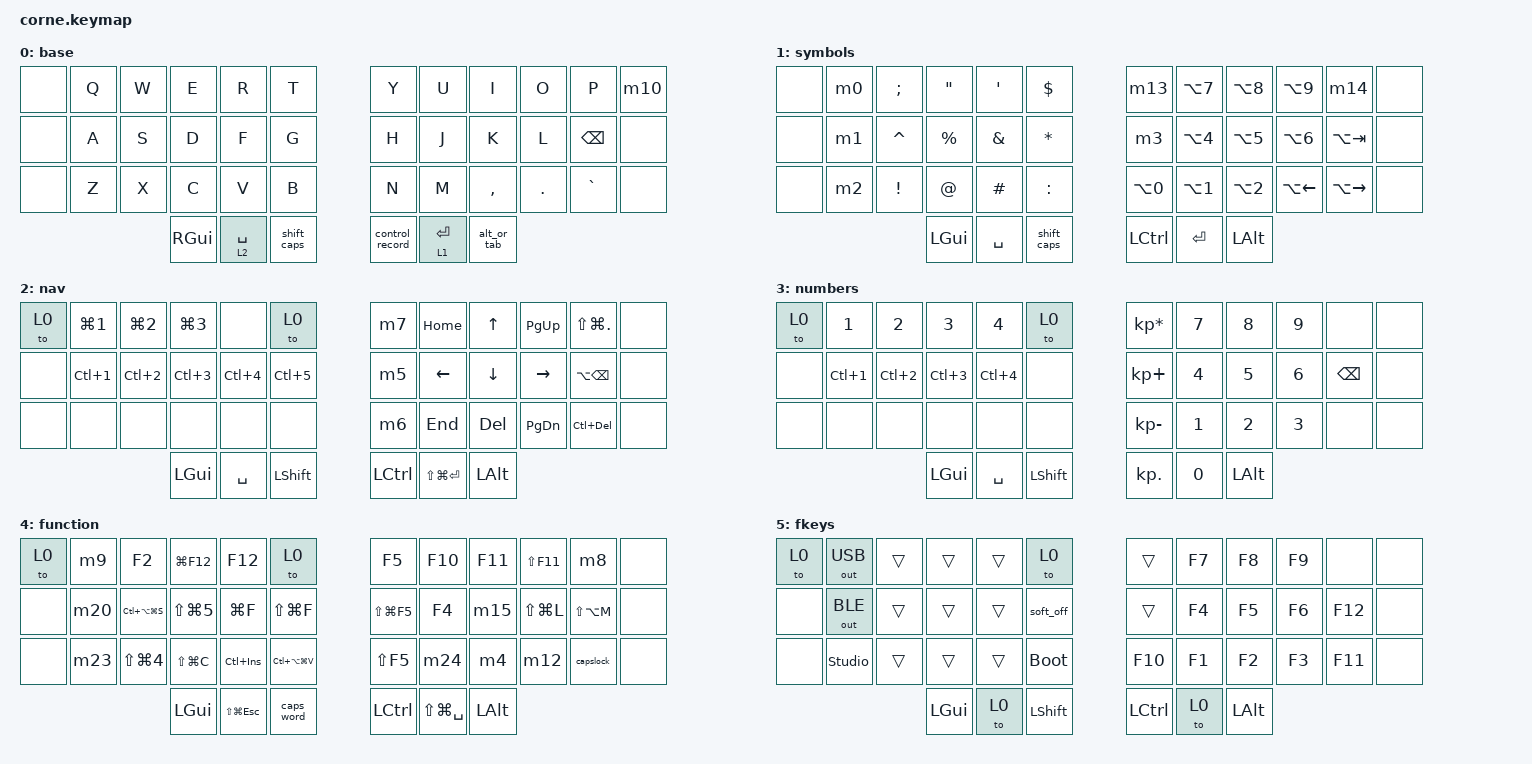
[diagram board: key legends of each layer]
#include <behaviors/mouse_keys.dtsi>
#include <behaviors.dtsi>
#include <dt-bindings/zmk/bt.h>
#include <dt-bindings/zmk/keys.h>
#include <dt-bindings/zmk/outputs.h>
#include <dt-bindings/zmk/pointing.h>

// Corne-only hardening (32-keys.md): the layer-taps on the thumbs get a quick-tap
// window, a prior-idle guard and tap-preferred flavor so a fast Space/Enter never
// resolves as a layer hold. Ximi2 has no equivalent knob.
&lt {
    quick-tap-ms = <200>;
    require-prior-idle-ms = <125>;
    flavor = "tap-preferred";
};

/ {
    macros {
        // Macro numbering mirrors the Vial macro table in akiva.vil (M0..M29).
        // Gaps in the numbering are intentional: those Vial macros are either
        // empty or bound only to Ximi-only keys (outer column / encoders).

        // M0: {} with cursor inside

        m0: m0 {
            compatible = "zmk,behavior-macro";
            #binding-cells = <0>;
            bindings = <&kp LEFT_BRACE &kp RIGHT_BRACE &kp LEFT_ARROW>;
            label = "M0";
        };

        // M1: () with cursor inside

        m1: m1 {
            compatible = "zmk,behavior-macro";
            #binding-cells = <0>;
            bindings = <&kp LEFT_PARENTHESIS &kp RIGHT_PARENTHESIS &kp LEFT_ARROW>;
            label = "M1";
        };

        // M2: [] with cursor inside

        m2: m2 {
            compatible = "zmk,behavior-macro";
            #binding-cells = <0>;
            bindings = <&kp LEFT_BRACKET &kp RIGHT_BRACKET &kp LEFT_ARROW>;
            label = "M2";
        };

        // M3: terminal — Ctrl+Alt+Cmd+T, then Alt+3

        m3: m3 {
            compatible = "zmk,behavior-macro";
            #binding-cells = <0>;
            bindings =
                <&kp LC(LA(LG(T)))>,
                <&macro_wait_time 100>,
                <&kp LA(NUMBER_3)>;

            label = "M3";
        };

        // M4: "./"

        m4: m4 {
            compatible = "zmk,behavior-macro";
            #binding-cells = <0>;
            bindings = <&kp DOT &kp SLASH>;
            label = "M4";
        };

        // M5: Cmd+K, Cmd+[ — fold

        m5: m5 {
            compatible = "zmk,behavior-macro";
            #binding-cells = <0>;
            bindings = <&kp LG(K) &kp LG(LEFT_BRACKET)>;
            label = "M5";
        };

        // M6: Cmd+K, Cmd+] — unfold

        m6: m6 {
            compatible = "zmk,behavior-macro";
            #binding-cells = <0>;
            bindings = <&kp LG(K) &kp LG(RIGHT_BRACKET)>;
            label = "M6";
        };

        // M7: Cmd+K, Cmd+0 — fold all

        m7: m7 {
            compatible = "zmk,behavior-macro";
            #binding-cells = <0>;
            bindings = <&kp LG(K) &kp LG(NUMBER_0)>;
            label = "M7";
        };

        // M8: Alt+Cmd+P

        m8: m8 {
            compatible = "zmk,behavior-macro";
            #binding-cells = <0>;
            bindings =
                <&macro_press>,
                <&kp LALT &kp LGUI>,
                <&macro_tap>,
                <&kp P>,
                <&macro_release>,
                <&kp LALT &kp LGUI>;

            label = "M8";
        };

        // M9: ESC, ZZ — vim exit

        m9: m9 {
            compatible = "zmk,behavior-macro";
            #binding-cells = <0>;
            bindings = <&kp ESC &kp LS(Z) &kp LS(Z)>;
            label = "M9";
        };

        // M10: Ctrl+Cmd+Q — lock screen

        m10: m10 {
            compatible = "zmk,behavior-macro";
            #binding-cells = <0>;
            bindings = <&kp LC(LG(Q))>;
            label = "M10";
        };

        // M12: "../" — was a second copy of M4's "./" until Ximi de-duplicated it

        m12: m12 {
            compatible = "zmk,behavior-macro";
            #binding-cells = <0>;
            bindings = <&kp DOT &kp DOT &kp SLASH>;
            label = "M12";
        };

        // M13: Alt+Ctrl+Left

        m13: m13 {
            compatible = "zmk,behavior-macro";
            #binding-cells = <0>;
            bindings = <&kp LA(LC(LEFT_ARROW))>;
            label = "M13";
        };

        // M14: Alt+Ctrl+Right

        m14: m14 {
            compatible = "zmk,behavior-macro";
            #binding-cells = <0>;
            bindings = <&kp LA(LC(RIGHT_ARROW))>;
            label = "M14";
        };

        // M15: email address

        m15: m15 {
            compatible = "zmk,behavior-macro";
            #binding-cells = <0>;
            wait-ms = <20>;
            tap-ms = <10>;
            bindings =
                <&macro_tap>,
                <&kp A &kp K &kp B &kp L &kp O &kp C &kp H &kp AT_SIGN &kp D &kp R &kp I &kp V &kp E &kp N &kp E &kp T &kp S &kp DOT &kp C &kp O &kp M>;

            label = "M15";
        };

        // M20: Shift+Alt+T, wait, "!!", Enter — rerun last shell command

        m20: m20 {
            compatible = "zmk,behavior-macro";
            #binding-cells = <0>;
            bindings =
                <&kp LS(LA(T))>,
                <&macro_wait_time 300>,
                <&kp EXCL &kp EXCL &kp ENTER>;

            label = "M20";
        };

        // M22: "thisisunsafe" — defined but unbound. Its layer 4 key went to the path
        // macros when Ximi de-duplicated them, and Ximi has no binding for it either.

        m22: m22 {
            compatible = "zmk,behavior-macro";
            #binding-cells = <0>;
            wait-ms = <20>;
            tap-ms = <10>;
            bindings = <&kp T &kp H &kp I &kp S &kp I &kp S &kp U &kp N &kp S &kp A &kp F &kp E>;
            label = "M22";
        };

        // Ximi M11: Caps Lock held for 120 ms. macOS ignores a Caps Lock press shorter
        // than ~80 ms, so a plain tap never toggles it. Bound on layer 4's left outer
        // bottom key, which is where Ximi put it back after the thumb move. Ximi also
        // still reaches Caps Lock from the left thumb's tap-then-hold; ZMK cannot
        // express that gesture, so on the Corne this key is the only route to it.

        capslock: capslock {
            compatible = "zmk,behavior-macro";
            #binding-cells = <0>;
            bindings = <&macro_press &kp CAPS>, <&macro_wait_time 120>, <&macro_release &kp CAPS>;
            label = "CAPSLOCK";
        };

        // M23: "think hard and be smart"

        m23: m23 {
            compatible = "zmk,behavior-macro";
            #binding-cells = <0>;
            wait-ms = <20>;
            tap-ms = <10>;
            bindings = <&kp T &kp H &kp I &kp N &kp K &kp SPACE &kp H &kp A &kp R &kp D &kp SPACE &kp A &kp N &kp D &kp SPACE &kp B &kp E &kp SPACE &kp S &kp M &kp A &kp R &kp T>;
            label = "M23";
        };

        // M24: "~/"

        m24: m24 {
            compatible = "zmk,behavior-macro";
            #binding-cells = <0>;
            bindings = <&kp TILDE &kp SLASH>;
            label = "M24";
        };

        // M27: Cmd+Alt+T

        m27: m27 {
            compatible = "zmk,behavior-macro";
            #binding-cells = <0>;
            bindings = <&kp LG(LA(T))>;
            label = "M27";
        };

        // BTCLR0-4: clear one named Bluetooth profile. ZMK's BT_CLR takes no index —
        // it clears whichever profile is current — so each of these selects the
        // profile, waits for the switch to settle, then clears it. You are left on
        // the profile you just cleared, which is what you want before re-pairing.

        btclr0: btclr0 {
            compatible = "zmk,behavior-macro";
            #binding-cells = <0>;
            bindings = <&bt BT_SEL 0>, <&macro_wait_time 30>, <&bt BT_CLR>;
            label = "BTCLR0";
        };

        btclr1: btclr1 {
            compatible = "zmk,behavior-macro";
            #binding-cells = <0>;
            bindings = <&bt BT_SEL 1>, <&macro_wait_time 30>, <&bt BT_CLR>;
            label = "BTCLR1";
        };

        btclr2: btclr2 {
            compatible = "zmk,behavior-macro";
            #binding-cells = <0>;
            bindings = <&bt BT_SEL 2>, <&macro_wait_time 30>, <&bt BT_CLR>;
            label = "BTCLR2";
        };

        btclr3: btclr3 {
            compatible = "zmk,behavior-macro";
            #binding-cells = <0>;
            bindings = <&bt BT_SEL 3>, <&macro_wait_time 30>, <&bt BT_CLR>;
            label = "BTCLR3";
        };

        btclr4: btclr4 {
            compatible = "zmk,behavior-macro";
            #binding-cells = <0>;
            bindings = <&bt BT_SEL 4>, <&macro_wait_time 30>, <&bt BT_CLR>;
            label = "BTCLR4";
        };
    };

    behaviors {
        // Vial TD(1) on the right inner thumb: tap = Ctrl, double tap = Ctrl+Alt+Cmd+\
        // (screen recording). Vial tapping term is 210 ms.

        control_record: control_record {
            compatible = "zmk,behavior-tap-dance";
            label = "CONTROL_RECORD";
            #binding-cells = <0>;
            tapping-term-ms = <210>;
            bindings = <&kp LEFT_CONTROL>, <&kp LC(LA(LG(BACKSLASH)))>;
        };

        // Tab's new home. The left outer column is being retired and Tab was its
        // last tenant, so it moves onto the right outer thumb: hold = Alt, tap = Tab.
        //
        // flavor = "hold-preferred" is what makes this affordable. A tap-dance (the
        // gui5/alt5 bill this file tore up) charges its term on every press; a
        // hold-preferred hold-tap resolves the hold the instant another key goes
        // down, so Alt+letter costs nothing. The term only runs when nothing else
        // follows, which is the keyless hold: ⌥-click, ⌥-drag, ⌥-scroll.
        //
        // hold-trigger-key-positions lists the thirty letter positions and no thumb.
        // A thumb pressed after this key must therefore resolve it as a TAP, not a
        // hold — without that, pressing Shift (38) a hair after this key turns
        // Shift+Tab into Alt+Shift.
        alt_tab: alt_tab {
            compatible = "zmk,behavior-hold-tap";
            label = "ALT_TAB";
            #binding-cells = <2>;
            flavor = "hold-preferred";
            tapping-term-ms = <180>;
            hold-trigger-key-positions = <1 2 3 4 5 6 7 8 9 10 13 14 15 16 17 18 19 20 21 22 25 26 27 28 29 30 31 32 33 34>;
            bindings = <&kp>, <&kp>;
        };

        // The Shift+Tab guard, and the reason Tab can live on a modifier at all.
        //
        // A hold-tap emits its tap on RELEASE. Shift+Tab is two thumbs on opposite
        // halves, so if the left thumb lifts a few ms early the Tab lands unshifted
        // — plain Tab instead of Shift+Tab, which in a Claude Code session cycles
        // the mode the wrong way. No timing knob fixes that; the tap is simply late.
        //
        // mod-morph does. With Shift already held, this key is a plain &kp TAB that
        // fires on KEYDOWN, and keep-mods lets the Shift through. Release order
        // stops mattering.
        //
        // The mask is Shift and nothing else, deliberately. Widening it to Cmd and
        // Ctrl would make ⌘Tab and ⌃Tab fire on keydown too, but it would also mean
        // this key can never produce Alt while Cmd or Ctrl is held, which kills live
        // ⌘⌥x and ⌃⌥x chords from the thumbs. ⌘Tab needs no help: you hold ⌘ far
        // past the Tab while browsing the switcher, so the late tap is harmless.
        // Modifiers absent from `mods` are not touched, so ⌘⇧Tab still works — the
        // Shift branch fires and the Cmd passes straight through.
        //
        // UNVERIFIED, and it wants a build to settle: Shift on position 38 is now the
        // shift_caps tap-dance, not a plain &kp LSHFT. A mod-morph reads the held mods
        // at its own keydown, and a tap-dance emits its binding on the interrupt path,
        // so the question is whether that Shift is in the report before this key is
        // evaluated. If it is not, Shift+Tab takes the hold-tap branch and the
        // release-order hazard this morph exists to remove comes back.
        alt_or_tab: alt_or_tab {
            compatible = "zmk,behavior-mod-morph";
            label = "ALT_OR_TAB";
            #binding-cells = <0>;
            bindings = <&alt_tab LALT TAB>, <&kp TAB>;
            mods = <(MOD_LSFT|MOD_RSFT)>;
            keep-mods = <(MOD_LSFT|MOD_RSFT)>;
        };

        // Vial TD(0) on the left inner thumb: tap = Shift, double tap = Caps Word,
        // tap-then-hold = Caps Lock. ZMK tap-dance has no tap-hold slot, so Caps Lock
        // takes the third tap instead — the closest gesture ZMK can express. The
        // double-tap only resolves from a deliberate pair of taps: a held Shift plus a
        // letter resolves on the letter (the interrupt path), not on a second tap, so
        // typing two capitals in a row never arms it. 200 ms, matching Vial's term.
        //
        // Bound on layers 0 and 1, as on Ximi. Layers 2, 3 and 5 keep a plain Shift —
        // the dance buys nothing on nav/number/F-key layers and would only tax the
        // modifier. Layer 4's left inner thumb stays a one-tap &caps_word, also as on
        // Ximi, so Caps Word is reachable from base without going to layer 4.

        shift_caps: shift_caps {
            compatible = "zmk,behavior-tap-dance";
            label = "SHIFT_CAPS";
            #binding-cells = <0>;
            tapping-term-ms = <200>;
            bindings = <&kp LSHFT>, <&caps_word>, <&capslock>;
        };
    };

    combos {
        compatible = "zmk,combos";
        timeout-ms = <150>;

        // Every combo is scoped to the base layer. Ximi2 leaves them global; the Corne
        // leads here (32-keys.md), and each non-base layer already carries its own TO0.

        // Ported 1:1 from the Vial combo table (which is keyed by keycode, not position).
        // Corne key positions (0-41):
        // 0  1  2  3  4  5       6  7  8  9  10 11
        // 12 13 14 15 16 17      18 19 20 21 22 23
        // 24 25 26 27 28 29      30 31 32 33 34 35
        //          36 37 38      39 40 41

        semicolon {
            bindings = <&kp SEMI>;
            key-positions = <5 17>; // T + G
            layers = <0>;
        };

        pipe {
            bindings = <&kp PIPE>;
            key-positions = <17 29>; // G + B
            layers = <0>;
        };

        slash {
            bindings = <&kp SLASH>;
            key-positions = <4 15>; // R + D
            layers = <0>;
        };

        backslash {
            bindings = <&kp BACKSLASH>;
            key-positions = <3 16>; // E + F
            layers = <0>;
        };

        dash {
            bindings = <&kp MINUS>;
            key-positions = <14 16>; // S + F
            layers = <0>;
        };

        underscore {
            bindings = <&kp UNDER>;
            key-positions = <26 28>; // X + V
            layers = <0>;
        };

        plus {
            bindings = <&kp PLUS>;
            key-positions = <19 21>; // J + L
            layers = <0>;
        };

        eql {
            bindings = <&kp EQUAL>;
            key-positions = <31 33>; // M + .
            layers = <0>;
        };

        left_bracket {
            bindings = <&kp LEFT_BRACKET>;
            key-positions = <1 14>; // Q + S
            layers = <0>;
        };

        right_bracket {
            bindings = <&kp RIGHT_BRACKET>;
            key-positions = <2 13>; // W + A
            layers = <0>;
        };

        esc {
            bindings = <&kp ESCAPE>;
            key-positions = <1 3>; // Q + E
            layers = <0>;
        };

        // ? — the slash family's second direction. Slash is r + d, anchored on D
        // reaching up-right; this is the same anchor reaching down-right, one row
        // below e + f. It crosses two adjacent columns, which the rest of the
        // combo set avoids, and it is the first such pair chosen rather than
        // inherited: require-prior-idle-ms cannot guard it, because ? is typed
        // mid-word. It rides on r + d and e + f being clean in daily use.

        qmark {
            bindings = <&kp QMARK>;
            key-positions = <15 28>; // D + V
            layers = <0>;
        };

        think_hard {
            bindings = <&m23>;
            key-positions = <1 29>; // Q + B
            layers = <0>;
        };

        mouse1 {
            bindings = <&mkp LCLK>;
            key-positions = <1 15>; // Q + D
            layers = <0>;
        };

        mouse2 {
            bindings = <&mkp RCLK>;
            key-positions = <13 27>; // A + C
            layers = <0>;
        };

        mouse4 {
            bindings = <&mkp MB4>;
            key-positions = <20 22>; // K + Backspace
            layers = <0>;
        };

        mouse5 {
            bindings = <&mkp MB5>;
            key-positions = <8 10>; // I + P
            layers = <0>;
        };

        mo2 {
            bindings = <&mo 2>;
            key-positions = <3 14 16>; // S + E + F
            layers = <0>;
        };

        mo3 {
            bindings = <&mo 3>;
            key-positions = <14 15 16>; // S + D + F
            layers = <0>;
        };

        mo5 {
            bindings = <&mo 5>;
            key-positions = <26 27 28>; // X + C + V
            layers = <0>;
        };

        sl4_home {
            bindings = <&sl 4>;
            key-positions = <19 20 21>; // J + K + L
            layers = <0>;
        };

        sl4_bottom {
            bindings = <&sl 4>;
            key-positions = <31 32 33>; // M + , + .
            layers = <0>;
        };

        to2 {
            bindings = <&to 2>;
            key-positions = <3 13 14 16>; // A + S + E + F
            layers = <0>;
        };

        to3 {
            bindings = <&to 3>;
            key-positions = <13 14 15 16>; // A + S + D + F
            layers = <0>;
        };

        to5 {
            bindings = <&to 5>;
            key-positions = <25 26 27 28>; // Z + X + C + V
            layers = <0>;
        };

        // ZMK-only: Bluetooth has no Ximi equivalent. The whole radio grid hangs off
        // one shared anchor pair, O + P, with the third key naming the profile:
        // the top row selects, the home row disconnects, the bottom row clears.
        // Every key is inside the 36-key core, so the grid survives a smaller board.
        //
        // ZMK counts profiles from 0, so the five keys of a row are profiles 0-4 —
        // the first key of the row is profile 0, not profile 1.
        //
        // require-prior-idle-ms is load-bearing here, not decoration. O and P are
        // adjacent columns of the same hand, so "top" and "stop" roll T-O-P inside
        // the combo timeout and would otherwise select a profile mid-word. These
        // combos only fire from a standing start.

        bt_sel_0 {
            bindings = <&bt BT_SEL 0>;
            key-positions = <1 9 10>; // O + P + Q
            layers = <0>;
            require-prior-idle-ms = <250>;
        };

        bt_sel_1 {
            bindings = <&bt BT_SEL 1>;
            key-positions = <2 9 10>; // O + P + W
            layers = <0>;
            require-prior-idle-ms = <250>;
        };

        bt_sel_2 {
            bindings = <&bt BT_SEL 2>;
            key-positions = <3 9 10>; // O + P + E
            layers = <0>;
            require-prior-idle-ms = <250>;
        };

        bt_sel_3 {
            bindings = <&bt BT_SEL 3>;
            key-positions = <4 9 10>; // O + P + R
            layers = <0>;
            require-prior-idle-ms = <250>;
        };

        bt_sel_4 {
            bindings = <&bt BT_SEL 4>;
            key-positions = <5 9 10>; // O + P + T
            layers = <0>;
            require-prior-idle-ms = <250>;
        };

        bt_disc_0 {
            bindings = <&bt BT_DISC 0>;
            key-positions = <9 10 13>; // O + P + A
            layers = <0>;
            require-prior-idle-ms = <250>;
        };

        bt_disc_1 {
            bindings = <&bt BT_DISC 1>;
            key-positions = <9 10 14>; // O + P + S
            layers = <0>;
            require-prior-idle-ms = <250>;
        };

        bt_disc_2 {
            bindings = <&bt BT_DISC 2>;
            key-positions = <9 10 15>; // O + P + D
            layers = <0>;
            require-prior-idle-ms = <250>;
        };

        bt_disc_3 {
            bindings = <&bt BT_DISC 3>;
            key-positions = <9 10 16>; // O + P + F
            layers = <0>;
            require-prior-idle-ms = <250>;
        };

        bt_disc_4 {
            bindings = <&bt BT_DISC 4>;
            key-positions = <9 10 17>; // O + P + G
            layers = <0>;
            require-prior-idle-ms = <250>;
        };

        bt_clr_0 {
            bindings = <&btclr0>;
            key-positions = <9 10 25>; // O + P + Z
            layers = <0>;
            require-prior-idle-ms = <250>;
        };

        bt_clr_1 {
            bindings = <&btclr1>;
            key-positions = <9 10 26>; // O + P + X
            layers = <0>;
            require-prior-idle-ms = <250>;
        };

        bt_clr_2 {
            bindings = <&btclr2>;
            key-positions = <9 10 27>; // O + P + C
            layers = <0>;
            require-prior-idle-ms = <250>;
        };

        bt_clr_3 {
            bindings = <&btclr3>;
            key-positions = <9 10 28>; // O + P + V
            layers = <0>;
            require-prior-idle-ms = <250>;
        };

        bt_clr_4 {
            bindings = <&btclr4>;
            key-positions = <9 10 29>; // O + P + B
            layers = <0>;
            require-prior-idle-ms = <250>;
        };

        bt_clr_all {
            bindings = <&bt BT_CLR_ALL>;
            key-positions = <9 10 25 26 27 28>; // O + P + Z + X + C + V
            layers = <0>;
            require-prior-idle-ms = <250>;
        };
    };

    keymap {
        compatible = "zmk,keymap";

        // Layer 0: Base — mirrors akiva.vil layer 0 (▒ = Ximi KC_NO, retired key)
        // ┌───┬───┬───┬───┬───┬───┐   ┌───┬───┬───┬───┬───┬───┐
        // │   │ Q │ W │ E │ R │ T │   │ Y │ U │ I │ O │ P │🔒 │
        // ├───┼───┼───┼───┼───┼───┤   ├───┼───┼───┼───┼───┼───┤
        // │   │ A │ S │ D │ F │ G │   │ H │ J │ K │ L │ ⌫ │▒▒▒│
        // ├───┼───┼───┼───┼───┼───┤   ├───┼───┼───┼───┼───┼───┤
        // │   │ Z │ X │ C │ V │ B │   │ N │ M │ , │ . │ ` │▒▒▒│
        // └───┴───┴───┼───┼───┼───┤   ├───┼───┼───┴───┴───┴───┘
        //             │ ⌘ │ ␣ │ ⇧ │   │ ⌃ │ ⏎ │ ⌥ │
        //             │   │L2 │   │   │ ⏺ │L1 │ ⇥ │
        //             └───┴───┴───┘   └───┴───┴───┘

        base {
            bindings = <
&none       &kp Q  &kp W  &kp E  &kp R       &kp T        &kp Y            &kp U        &kp I      &kp O    &kp P      &m10
&none       &kp A  &kp S  &kp D  &kp F       &kp G        &kp H            &kp J        &kp K      &kp L    &kp BSPC   &none
&none       &kp Z  &kp X  &kp C  &kp V       &kp B        &kp N            &kp M        &kp COMMA  &kp DOT  &kp GRAVE  &none
                          &kp RGUI  &lt 2 SPACE  &shift_caps    &control_record  &lt 1 ENTER  &alt_or_tab
            >;

            display-name = "base";
        };

        // Layer 1: Symbols / ⌥-digit — mirrors akiva.vil layer 1
        //
        // Position 0 is &none here, and that is not a deferral. Layer 1 is reachable
        // ONLY by holding &lt 1 ENTER — there is no TO(1), MO(1), TG(1) or combo on
        // either board — so you cannot be stranded on it and it needs no way home.
        // The return-to-base copy that used to sit on position 0 was dead weight.
        //
        // ^ moved from the right pinky home key to the home-row slot at
        // position 14, pushing $ out to the t position, which had held a second
        // copy of $. $ is the commoner glyph, but ^ is the one the owner wants
        // under the stronger finger. The right pinky key it vacated now carries
        // ⌥Tab, joining the ⌥-digit window-management block.
        // ⌥Tab is one-shot — it cannot hold the switcher open and cycle, because a
        // precomposed keycode releases Alt with the Tab.
        // ┌───┬───┬───┬───┬───┬───┐   ┌───┬───┬───┬───┬───┬───┐
        // │   │{} │ ; │ " │ ' │ $ │   │⌥⌃←│⌥7 │⌥8 │⌥9 │⌥⌃→│▒▒▒│
        // ├───┼───┼───┼───┼───┼───┤   ├───┼───┼───┼───┼───┼───┤
        // │   │() │ ^ │ % │ & │ * │   │💻 │⌥4 │⌥5 │⌥6 │⌥⇥ │▒▒▒│
        // ├───┼───┼───┼───┼───┼───┤   ├───┼───┼───┼───┼───┼───┤
        // │   │[] │ ! │ @ │ # │ : │   │⌥0 │⌥1 │⌥2 │⌥← │⌥→ │▒▒▒│
        // └───┴───┴───┼───┼───┼───┤   ├───┼───┼───┴───┴───┴───┘
        //             │ ⌘ │ ␣ │ ⇧ │   │ ⌃ │ ⏎ │ ⌥ │
        //             └───┴───┴───┘   └───┴───┴───┘

        symbols {
            bindings = <
&none      &m0  &kp SEMI         &kp DQT      &kp SQT        &kp DOLLAR      &m13        &kp LA(N7)  &kp LA(N8)  &kp LA(N9)  &m14          &none
&none      &m1  &kp CARET        &kp PERCENT  &kp AMPERSAND  &kp ASTERISK    &m3         &kp LA(N4)  &kp LA(N5)  &kp LA(N6)  &kp LA(TAB)   &none
&none      &m2  &kp EXCLAMATION  &kp AT       &kp HASH       &kp COLON       &kp LA(N0)  &kp LA(N1)  &kp LA(N2)  &kp LA(LEFT)  &kp LA(RIGHT)  &none
                                 &kp LGUI     &kp SPACE      &shift_caps       &kp LCTRL   &kp RET  &kp LALT
            >;

            display-name = "symbols";
        };

        // Layer 2: Navigation — mirrors akiva.vil layer 2 (⊟ fold · ⊟≡ fold all · ⊞ unfold)
        // ┌───┬───┬───┬───┬───┬───┐   ┌───┬───┬───┬───┬───┬───┐
        // │TO0│⌘1 │⌘2 │⌘3 │   │TO0│   │⊟≡ │ ⇱ │ ↑ │ ⇞ │⇧⌘.│▒▒▒│
        // ├───┼───┼───┼───┼───┼───┤   ├───┼───┼───┼───┼───┼───┤
        // │   │⌃1 │⌃2 │⌃3 │⌃4 │⌃5 │   │ ⊟ │ ← │ ↓ │ → │⌥⌫ │▒▒▒│
        // ├───┼───┼───┼───┼───┼───┤   ├───┼───┼───┼───┼───┼───┤
        // │   │   │   │   │   │   │   │ ⊞ │ ⇲ │ ⌦ │ ⇟ │⌃⌦ │▒▒▒│
        // └───┴───┴───┼───┼───┼───┤   ├───┼───┼───┴───┴───┴───┘
        //             │ ⌘ │ ␣ │ ⇧ │   │ ⌃ │⇧⌘⏎│ ⌥ │
        //             └───┴───┴───┘   └───┴───┴───┘

        nav {
            bindings = <
&to 0          &kp LG(N1)     &kp LG(N2)  &kp LG(N3)     &none       &to 0       &m7        &kp HOME  &kp UP    &kp PG_UP  &kp LS(LG(DOT))  &none
&none          &kp LC(N1)     &kp LC(N2)  &kp LC(N3)     &kp LC(N4)  &kp LC(N5)  &m5        &kp LEFT  &kp DOWN  &kp RIGHT  &kp LA(BSPC)     &none
&none          &none          &none       &none          &none       &none       &m6        &kp END   &kp DEL   &kp PG_DN  &kp LC(DEL)      &none
                                          &kp LGUI       &kp SPACE   &kp LSHFT   &kp LCTRL  &kp LS(LG(ENTER))  &kp LALT
            >;

            display-name = "nav";
        };

        // Layer 3: Numpad — mirrors akiva.vil layer 3 (right pinky is dead; it held a dup 9)
        // ┌───┬───┬───┬───┬───┬───┐   ┌───┬───┬───┬───┬───┬───┐
        // │TO0│ 1 │ 2 │ 3 │ 4 │TO0│   │ * │ 7 │ 8 │ 9 │   │▒▒▒│
        // ├───┼───┼───┼───┼───┼───┤   ├───┼───┼───┼───┼───┼───┤
        // │   │⌃1 │⌃2 │⌃3 │⌃4 │   │   │ + │ 4 │ 5 │ 6 │ ⌫ │▒▒▒│
        // ├───┼───┼───┼───┼───┼───┤   ├───┼───┼───┼───┼───┼───┤
        // │   │   │   │   │   │   │   │ - │ 1 │ 2 │ 3 │   │▒▒▒│
        // └───┴───┴───┼───┼───┼───┤   ├───┼───┼───┴───┴───┴───┘
        //             │ ⌘ │ ␣ │ ⇧ │   │ . │ 0 │ ⌥ │
        //             └───┴───┴───┘   └───┴───┴───┘

        numbers {
            bindings = <
&to 0  &kp N1      &kp N2      &kp N3      &kp N4      &to 0      &kp KP_MULTIPLY  &kp N7   &kp N8    &kp N9  &none     &none
&none  &kp LC(N1)  &kp LC(N2)  &kp LC(N3)  &kp LC(N4)  &none      &kp KP_PLUS      &kp N4   &kp N5    &kp N6  &kp BSPC  &none
&none  &none       &none       &none       &none       &none      &kp KP_MINUS     &kp N1   &kp N2    &kp N3  &none     &none
                               &kp LGUI    &kp SPACE   &kp LSHFT  &kp KP_DOT       &kp N0   &kp LALT
            >;

            display-name = "numbers";
        };

        // Layer 4: Function / macros — mirrors akiva.vil layer 4 (⇪w caps word)
        // ┌───┬───┬───┬───┬───┬───┐   ┌───┬───┬───┬───┬───┬───┐
        // │TO0│␛ZZ│F2 │ ⌘ │F12│TO0│   │F5 │F10│F11│ ⇧ │⌥⌘P│▒▒▒│
        // │   │   │   │F12│   │   │   │   │   │   │F11│   │▒▒▒│
        // ├───┼───┼───┼───┼───┼───┤   ├───┼───┼───┼───┼───┼───┤
        // │   │🔁 │⌃⌥⌘│🎥 │🔍 │🔍 │   │⇧⌘ │F4 │📧 │⇧⌘L│⇧⌥M│▒▒▒│
        // │   │!! │ S │   │   │all│   │F5 │   │   │   │   │▒▒▒│
        // ├───┼───┼───┼───┼───┼───┤   ├───┼───┼───┼───┼───┼───┤
        // │   │💭 │📷 │⇧⌘C│ ⌃ │⌃⌥⌘│   │⇧F5│~/ │./ │../│ ⇪ │▒▒▒│
        // │   │   │   │   │Ins│ V │   │   │   │   │   │   │▒▒▒│
        // └───┴───┴───┼───┼───┼───┤   ├───┼───┼───┴───┴───┴───┘
        //             │ ⌘ │⇧⌘␛│⇪w │   │ ⌃ │⇧⌘␣│ ⌥ │
        //             └───┴───┴───┘   └───┴───┴───┘

        function {
            bindings = <
&to 0     &m9   &kp F2             &kp LG(F12)     &kp F12             &to 0           &kp F5          &kp F10            &kp F11    &kp LS(F11)    &m8            &none
&none     &m20  &kp LC(LA(LG(S)))  &kp LS(LG(N5))  &kp LG(F)           &kp LS(LG(F))   &kp LS(LG(F5))  &kp F4             &m15       &kp LS(LG(L))  &kp LS(LA(M))  &none
&none     &m23  &kp LS(LG(N4))     &kp LS(LG(C))   &kp LC(INSERT)      &kp LC(LA(LG(V)))  &kp LS(F5)   &m24               &m4        &m12           &capslock      &none
                                   &kp LGUI        &kp LS(LG(ESCAPE))  &caps_word      &kp LCTRL       &kp LS(LG(SPACE))  &kp LALT
            >;

            display-name = "function";
        };

        // Layer 5: F-keys — mirrors akiva.vil layer 5 almost exactly.
        // Bluetooth used to occupy this left half; it now lives entirely in the o+p
        // combo grid, which hands the left half back to &trans and puts the two
        // boards one step closer to identical. What is left here is the handful of
        // things ZMK needs and QMK has no equivalent for, parked on keys the
        // layer-entry combo (x+c+v) does not touch. ❌ = transparent.
        //
        // The two output-endpoint keys sit above the unlock key because ZMK Studio
        // asks for them. The Studio docs say that when the board is paired over
        // Bluetooth and Studio is talking to it down the USB cable, output has to be
        // pointed at the same endpoint Studio was opened on, or every key pressed to
        // try out a change lands on the other host. USB and BLE get a key each rather
        // than one &out OUT_TOG because the OLED is disabled on this build, so a
        // toggle would leave nothing to read the current endpoint off of.
        // ┌───┬───┬───┬───┬───┬───┐   ┌───┬───┬───┬───┬───┬───┐
        // │TO0│USB│ ❌ │ ❌ │ ❌ │TO0│   │ ❌ │F7 │F8 │F9 │▒▒▒│▒▒▒│
        // ├───┼───┼───┼───┼───┼───┤   ├───┼───┼───┼───┼───┼───┤
        // │   │BLE│ ❌ │ ❌ │ ❌ │OFF│   │ ❌ │F4 │F5 │F6 │F12│▒▒▒│
        // ├───┼───┼───┼───┼───┼───┤   ├───┼───┼───┼───┼───┼───┤
        // │   │STU│ ❌ │ ❌ │ ❌ │BLD│   │F10│F1 │F2 │F3 │F11│▒▒▒│
        // └───┴───┴───┼───┼───┼───┤   ├───┼───┼───┴───┴───┴───┘
        //             │ ⌘ │TO0│ ⇧ │   │ ⌃ │TO0│ ⌥ │
        //             └───┴───┴───┘   └───┴───┴───┘
        // USB / BLE output endpoint · STU ZMK Studio unlock · OFF soft off
        // BLD bootloader
        // Bluetooth is combos only: o+p plus a third key. See combos.md.

        fkeys {
            bindings = <
&to 0    &out OUT_USB    &trans  &trans  &trans  &to 0          &trans     &kp F7  &kp F8  &kp F9  &none    &none
&none    &out OUT_BLE    &trans  &trans  &trans  &soft_off      &trans     &kp F4  &kp F5  &kp F6  &kp F12  &none
&none    &studio_unlock  &trans  &trans  &trans  &bootloader    &kp F10    &kp F1  &kp F2  &kp F3  &kp F11  &none
                                 &kp LGUI  &to 0  &kp LSHFT     &kp LCTRL  &to 0   &kp LALT
            >;

            display-name = "fkeys";
        };
    };
};
